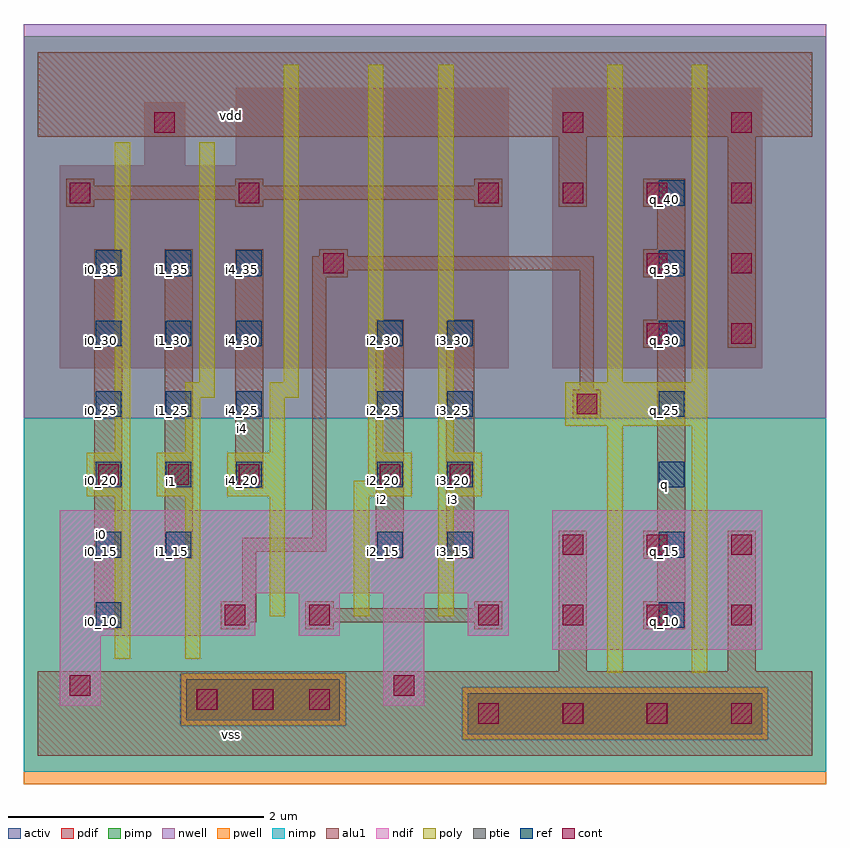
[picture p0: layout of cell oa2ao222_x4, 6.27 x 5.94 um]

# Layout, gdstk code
import gdstk
lib = gdstk.Library(unit=1e-6, precision=2.5e-09)
def R(c, l, rs):  # rectangles x0, y0, x1, y1
    for r in rs: c.add(gdstk.rectangle(r[:2], r[2:], *l))
def A(c, l, x, y, w, h, nx, ny, dx, dy):  # array of equal rectangles
    R(c, l, [(x+i*dx, y+j*dy, x+i*dx+w, y+j*dy+h) for i in range(nx) for j in range(ny)])
ndif = (3, 0)
pdif = (4, 0)
ptie = (6, 0)
ref = (24, 0)
cont = (25, 0)
pwell = (41, 0)
nwell = (42, 0)
activ = (43, 0)
pimp = (44, 0)
nimp = (45, 0)
poly = (46, 0)
alu1 = (49, 0)

oa2ao222_x4 = lib.new_cell('oa2ao222_x4')
R(oa2ao222_x4, ndif, [(0.17,0.39,0.49,0.94), (0.17,0.39,0.49,0.94), (2.7,0.39,3.02,1.27), (2.7,0.39,3.02,1.27), (4.02,0.83,5.66,1.92), (4.02,0.83,5.66,1.92), (0.17,0.94,1.7,1.27), (0.17,0.94,1.7,1.27), (2.04,0.94,2.36,1.27), (2.04,0.94,2.36,1.27), (3.36,0.94,3.68,1.27), (3.36,0.94,3.68,1.27), (0.17,1.27,3.68,1.92), (0.17,1.27,3.68,1.92)])
R(oa2ao222_x4, pdif, [(0.17,3.03,3.68,4.615), (0.17,3.03,3.68,4.615), (4.02,3.03,5.66,5.22), (4.02,3.03,5.66,5.22), (0.83,4.615,1.15,5.11), (0.83,4.615,1.15,5.11), (1.545,4.615,3.68,5.22), (1.545,4.615,3.68,5.22)])
R(oa2ao222_x4, ptie, [(3.36,0.17,5.66,0.49), (3.36,0.17,5.66,0.49), (1.16,0.28,2.36,0.6), (1.16,0.28,2.36,0.6)])
A(oa2ao222_x4, ref, 4.85, 1, 0.2, 0.2, 1, 7, 0, 0.55)
A(oa2ao222_x4, ref, 2.65, 1.55, 0.2, 0.2, 1, 4, 0, 0.55)
A(oa2ao222_x4, ref, 3.2, 1.55, 0.2, 0.2, 1, 4, 0, 0.55)
A(oa2ao222_x4, ref, 0.45, 2.1, 0.2, 0.2, 3, 4, 0.55, 0.55)
R(oa2ao222_x4, ref, [(0.45,1,0.65,1.2), (0.45,1.55,0.65,1.75), (1,1.55,1.2,1.75)])
A(oa2ao222_x4, cont, 3.44, 0.25, 0.16, 0.16, 4, 2, 0.66, 0.77)
A(oa2ao222_x4, cont, 1.24, 0.36, 0.16, 0.16, 3, 1, 0.44, 0)
A(oa2ao222_x4, cont, 4.1, 1.57, 0.16, 0.16, 3, 1, 0.66, 0)
A(oa2ao222_x4, cont, 0.47, 2.12, 0.16, 0.16, 3, 1, 0.55, 0)
A(oa2ao222_x4, cont, 3.44, 4.32, 0.16, 0.16, 4, 1, 0.66, 0)
R(oa2ao222_x4, cont, [(0.25,0.47,0.41,0.63), (2.78,0.47,2.94,0.63), (1.46,1.02,1.62,1.18), (2.12,1.02,2.28,1.18), (2.67,2.12,2.83,2.28), (3.22,2.12,3.38,2.28), (4.21,2.67,4.37,2.83), (4.76,3.22,4.92,3.38), (5.42,3.22,5.58,3.38), (2.23,3.77,2.39,3.93), (4.76,3.77,4.92,3.93), (5.42,3.77,5.58,3.93), (0.25,4.32,0.41,4.48), (1.57,4.32,1.73,4.48), (0.91,4.87,1.07,5.03), (4.1,4.87,4.26,5.03), (5.42,4.87,5.58,5.03)])
R(oa2ao222_x4, pwell, [(-0.11,-0.22,6.16,2.64)])
R(oa2ao222_x4, nwell, [(-0.11,2.64,6.16,5.72)])
R(oa2ao222_x4, activ, [(3.36,0.17,5.66,0.49), (3.36,0.17,5.66,0.49), (1.16,0.28,2.36,0.6), (1.16,0.28,2.36,0.6), (0.17,0.39,0.49,0.94), (0.17,0.39,0.49,0.94), (2.7,0.39,3.02,1.27), (2.7,0.39,3.02,1.27), (4.02,0.83,5.66,1.92), (4.02,0.83,5.66,1.92), (0.17,0.94,1.7,1.27), (0.17,0.94,1.7,1.27), (2.04,0.94,2.36,1.27), (2.04,0.94,2.36,1.27), (3.36,0.94,3.68,1.27), (3.36,0.94,3.68,1.27), (0.17,1.27,3.68,1.92), (0.17,1.27,3.68,1.92), (0.17,3.03,3.68,4.615), (0.17,3.03,3.68,4.615), (4.02,3.03,5.66,5.22), (4.02,3.03,5.66,5.22), (0.83,4.615,1.15,5.11), (0.83,4.615,1.15,5.11), (1.545,4.615,3.68,5.22), (1.545,4.615,3.68,5.22)])
R(oa2ao222_x4, pimp, [(3.315,0.125,5.705,0.535), (1.115,0.235,2.405,0.645), (-0.11,2.64,6.16,5.625)])
R(oa2ao222_x4, nimp, [(-0.11,-0.125,6.16,0.125), (-0.11,0.125,3.315,0.235), (5.705,0.125,6.16,0.535), (-0.11,0.235,1.115,0.645), (2.405,0.235,3.315,0.535), (2.405,0.535,6.16,0.645), (-0.11,0.645,6.16,2.64)])
A(oa2ao222_x4, poly, 1.81, 1.09, 0.12, 0.94, 3, 1, 0.66, 0)
R(oa2ao222_x4, poly, [(4.45,0.65,4.57,2.58), (5.11,0.65,5.23,2.58), (0.6,0.76,0.72,2.03), (1.15,0.76,1.27,2.03), (0.38,2.03,0.72,2.37), (0.93,2.03,1.27,2.37), (1.48,2.03,1.93,2.37), (2.47,2.03,2.92,2.15), (3.13,2.03,3.47,2.37), (2.58,2.15,2.92,2.37), (0.6,2.37,0.72,4.795), (1.15,2.37,1.27,2.8), (1.81,2.37,1.93,2.8), (2.58,2.37,2.7,5.4), (3.13,2.37,3.25,5.4), (4.12,2.58,5.23,2.92), (1.15,2.8,1.38,2.92), (1.81,2.8,2.04,2.92), (1.26,2.92,1.38,4.795), (1.92,2.92,2.04,5.4), (4.45,2.92,4.57,5.4), (5.11,2.92,5.23,5.4)])
A(oa2ao222_x4, alu1, 4.73, 3.19, 0.33, 0.22, 1, 3, 0, 0.55)
R(oa2ao222_x4, alu1, [(0,0,6.05,0.66), (4.07,0.66,4.29,1.76), (5.39,0.66,5.61,1.76), (0.44,0.99,0.66,3.96), (1.43,0.99,1.65,1.045), (2.09,0.99,2.31,1.045), (3.41,0.99,3.63,1.045), (4.73,0.99,5.06,1.21), (1.43,1.045,1.705,1.21), (2.09,1.045,3.63,1.155), (2.09,1.155,2.31,1.21), (3.41,1.155,3.63,1.21), (1.595,1.21,1.705,1.595), (4.84,1.21,5.06,1.54), (0.99,1.54,1.21,3.96), (2.64,1.54,2.86,3.41), (3.19,1.54,3.41,3.41), (4.73,1.54,5.06,1.76), (1.595,1.595,2.255,1.705), (2.145,1.705,2.255,3.74), (4.84,1.76,5.06,3.19), (1.54,2.09,1.76,3.96), (4.18,2.64,4.4,2.86), (4.235,2.86,4.345,3.795), (5.39,3.19,5.61,4.84), (4.84,3.41,5.06,3.74), (2.145,3.74,2.42,3.795), (2.145,3.795,4.345,3.905), (2.2,3.905,2.42,3.96), (4.84,3.96,5.06,4.29), (0.22,4.29,0.44,4.345), (1.54,4.29,1.76,4.345), (3.41,4.29,3.63,4.345), (4.07,4.29,4.29,4.84), (0.22,4.345,3.63,4.455), (0.22,4.455,0.44,4.51), (1.54,4.455,1.76,4.51), (3.41,4.455,3.63,4.51), (0,4.84,6.05,5.5)])
oa2ao222_x4.add(gdstk.Label('vss', (1.5125,0.165), layer=49, texttype=0))
oa2ao222_x4.add(gdstk.Label('q', (4.895,2.1175), layer=49, texttype=0))
oa2ao222_x4.add(gdstk.Label('i3', (3.245,2.0075), layer=49, texttype=0))
oa2ao222_x4.add(gdstk.Label('i2', (2.695,2.0075), layer=49, texttype=0))
oa2ao222_x4.add(gdstk.Label('i4', (1.595,2.5575), layer=49, texttype=0))
oa2ao222_x4.add(gdstk.Label('i1', (1.045,2.145), layer=49, texttype=0))
oa2ao222_x4.add(gdstk.Label('i0', (0.495,1.7325), layer=49, texttype=0))
oa2ao222_x4.add(gdstk.Label('vdd', (1.5125,5.005), layer=49, texttype=0))
oa2ao222_x4.add(gdstk.Label('i3_30', (3.25,3.25), layer=24, texttype=0))
oa2ao222_x4.add(gdstk.Label('i3_25', (3.25,2.7), layer=24, texttype=0))
oa2ao222_x4.add(gdstk.Label('i3_20', (3.25,2.15), layer=24, texttype=0))
oa2ao222_x4.add(gdstk.Label('i3_15', (3.25,1.6), layer=24, texttype=0))
oa2ao222_x4.add(gdstk.Label('i2_30', (2.7,3.25), layer=24, texttype=0))
oa2ao222_x4.add(gdstk.Label('i2_25', (2.7,2.7), layer=24, texttype=0))
oa2ao222_x4.add(gdstk.Label('i2_20', (2.7,2.15), layer=24, texttype=0))
oa2ao222_x4.add(gdstk.Label('i2_15', (2.7,1.6), layer=24, texttype=0))
oa2ao222_x4.add(gdstk.Label('i4_20', (1.6,2.15), layer=24, texttype=0))
oa2ao222_x4.add(gdstk.Label('i4_25', (1.6,2.7), layer=24, texttype=0))
oa2ao222_x4.add(gdstk.Label('i4_30', (1.6,3.25), layer=24, texttype=0))
oa2ao222_x4.add(gdstk.Label('i4_35', (1.6,3.8), layer=24, texttype=0))
oa2ao222_x4.add(gdstk.Label('i1_15', (1.05,1.6), layer=24, texttype=0))
oa2ao222_x4.add(gdstk.Label('i1_20', (1.05,2.15), layer=24, texttype=0))
oa2ao222_x4.add(gdstk.Label('i1_25', (1.05,2.7), layer=24, texttype=0))
oa2ao222_x4.add(gdstk.Label('i1_30', (1.05,3.25), layer=24, texttype=0))
oa2ao222_x4.add(gdstk.Label('i1_35', (1.05,3.8), layer=24, texttype=0))
oa2ao222_x4.add(gdstk.Label('i0_35', (0.5,3.8), layer=24, texttype=0))
oa2ao222_x4.add(gdstk.Label('i0_30', (0.5,3.25), layer=24, texttype=0))
oa2ao222_x4.add(gdstk.Label('i0_25', (0.5,2.7), layer=24, texttype=0))
oa2ao222_x4.add(gdstk.Label('i0_20', (0.5,2.15), layer=24, texttype=0))
oa2ao222_x4.add(gdstk.Label('i0_15', (0.5,1.6), layer=24, texttype=0))
oa2ao222_x4.add(gdstk.Label('i0_10', (0.5,1.05), layer=24, texttype=0))
oa2ao222_x4.add(gdstk.Label('q_15', (4.9,1.6), layer=24, texttype=0))
oa2ao222_x4.add(gdstk.Label('q_35', (4.9,3.8), layer=24, texttype=0))
oa2ao222_x4.add(gdstk.Label('q_10', (4.9,1.05), layer=24, texttype=0))
oa2ao222_x4.add(gdstk.Label('q_30', (4.9,3.25), layer=24, texttype=0))
oa2ao222_x4.add(gdstk.Label('q_25', (4.9,2.7), layer=24, texttype=0))
oa2ao222_x4.add(gdstk.Label('q_20', (4.9,2.15), layer=24, texttype=0))
oa2ao222_x4.add(gdstk.Label('q_40', (4.9,4.35), layer=24, texttype=0))

lib.write_gds('oa2ao222_x4.gds')
